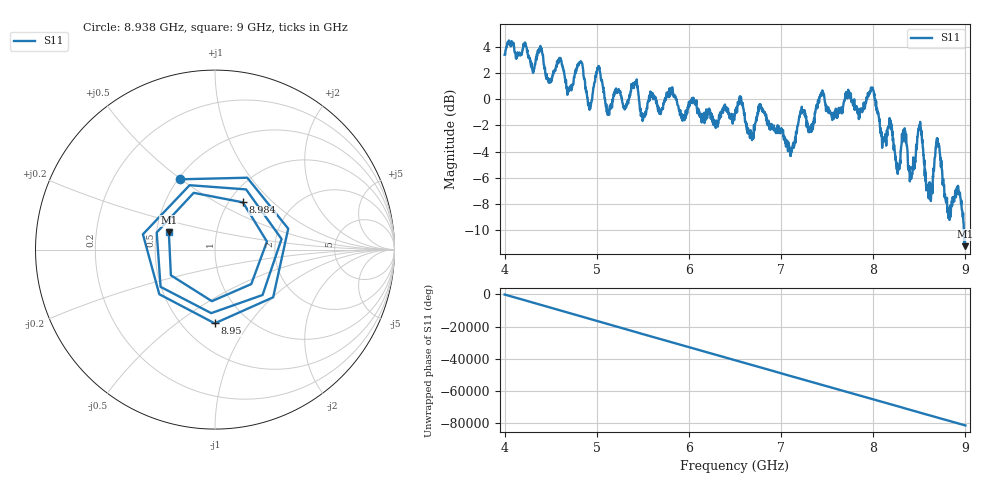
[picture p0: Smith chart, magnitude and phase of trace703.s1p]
! Created with skrf 1.8.0 (http://scikit-rf.org).
# Hz S RI R 50.0
!freq ReS11 ImS11
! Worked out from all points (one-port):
!   1601 points, 4 GHz to 9 GHz, reference 50 ohm
!   lowest |S11| = -11.2 dB at 9 GHz (marker M1), VSWR 1.76, Z = 29.1 + j6.07 ohm
!   |S11| at or under -10 dB: 8.982985 GHz to end of sweep
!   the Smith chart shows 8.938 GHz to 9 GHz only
!   S11 on the Smith chart (normalised r, x): 8.938 GHz: 0.51, +0.50; 8.95 GHz: 0.71, -0.70; 8.984 GHz: 1.16, +0.67; 9 GHz: 0.58, +0.12
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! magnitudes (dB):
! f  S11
! 4 GHz  3.4
! 4.625 GHz  2.6
! 4.7 GHz  0.8
! 4.828 GHz  2.9
! 4.922 GHz  -0.8
! 5.012 GHz  2.4
! 5.119 GHz  -1.2
! 5.25 GHz  0.6
! 5.875 GHz  -0.4
! 6.5 GHz  -1.1
! 6.675 GHz  -2.7
! 6.791 GHz  -0.7
! 7.125 GHz  -3.6
! 7.228 GHz  -1.0
! 7.75 GHz  0.2
! 7.988 GHz  0.9
! 8.262 GHz  -5.5
! 8.334 GHz  -2.4
! 8.375 GHz  -4.7
! 8.422 GHz  -5.7
! 8.503 GHz  -2.1
! 8.6 GHz  -7.5
! 8.7 GHz  -3.0
! 8.816 GHz  -9.1
! 8.938 GHz  -7.2
! 8.95 GHz  -7.7
! 8.984 GHz  -10.3
! 9 GHz  -11.2
